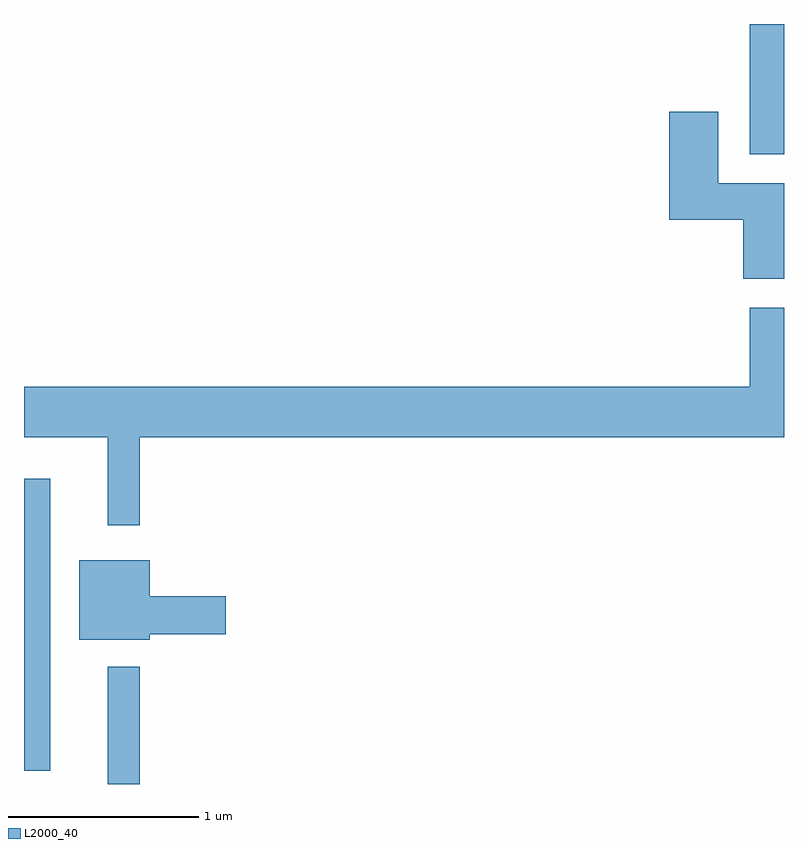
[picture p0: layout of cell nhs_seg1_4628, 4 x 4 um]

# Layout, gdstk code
import gdstk
lib = gdstk.Library(unit=1e-6, precision=1e-09)
def R(c, l, rs):  # rectangles x0, y0, x1, y1
    for r in rs: c.add(gdstk.rectangle(r[:2], r[2:], *l))
def P(c, l, *ps):  # polygons
    for p in ps: c.add(gdstk.Polygon(p, *l))
L2000_40 = (2000, 40)

nhs_seg1_4628 = lib.new_cell('nhs_seg1_4628')
R(nhs_seg1_4628, L2000_40, [(324.051,937.712,324.219,938.328), (323.611,937.781,323.749,939.318), (327.431,941.026,327.611,941.712)])
P(nhs_seg1_4628, L2000_40, [(327.611,940.874),(327.264,940.874),(327.264,941.249),(327.006,941.249),(327.006,940.681),(327.396,940.681),(327.396,940.371),(327.611,940.371)],
  [(324.219,939.536),(327.611,939.536),(327.611,940.219),(327.431,940.219),(327.431,939.804),(323.611,939.804),(323.611,939.536),(324.051,939.536),(324.051,939.073),(324.219,939.073)],
  [(324.274,938.501),(324.674,938.501),(324.674,938.699),(324.274,938.699),(324.274,938.889),(323.901,938.889),(323.901,938.471),(324.274,938.471)])

lib.write_gds('nhs_seg1_4628.gds')
